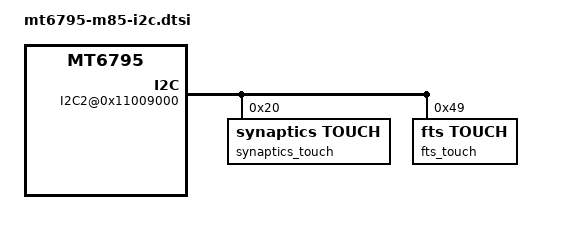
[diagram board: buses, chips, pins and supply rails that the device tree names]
/{
     bus{
	I2C2@0x11009000{
	 status="okay";
         #address-cells=<1>;
	 #size-cells = <0>;
         synaptics_touch@20{
	 compatible = "synaptics,touch" ;
         reg= <0x20>;
         touch_irq=<2>;
        };
	fts_touch@49{
	 compatible = "fts,touch" ;
         reg= <0x49>;
         touch_irq=<2>;
        };	
	
      };
  };
};
